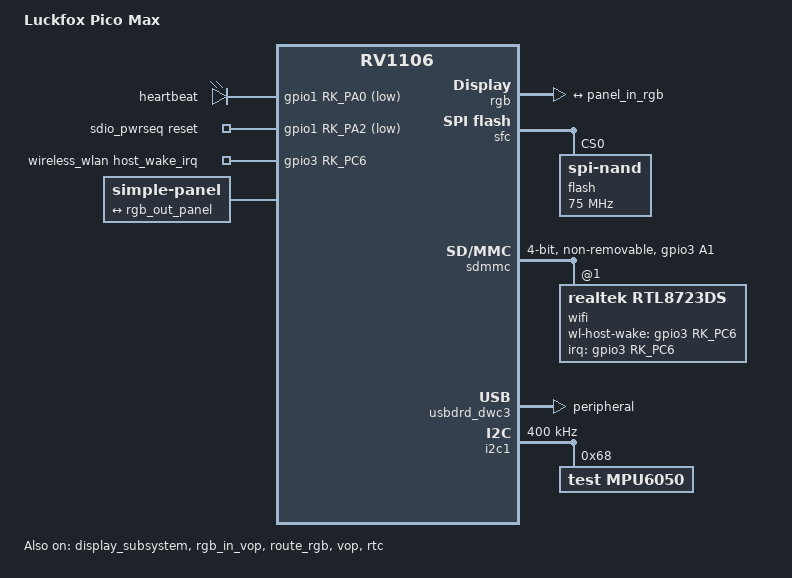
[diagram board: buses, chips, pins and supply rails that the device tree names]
// SPDX-License-Identifier: (GPL-2.0+ OR MIT)
/*
 * Copyright (c) 2022 Rockchip Electronics Co., Ltd.
 */

/dts-v1/;

#include "rv1106.dtsi"
#include "rv1106-evb.dtsi"
#include "rv1106-luckfox-pico-pro-max-ipc.dtsi"
#include <dt-bindings/input/input.h>
#include <dt-bindings/display/media-bus-format.h>


/ {
	model = "Luckfox Pico Max";
	compatible = "rockchip,rv1103g-38x38-ipc-v10", "rockchip,rv1106";



	leds {
        compatible = "gpio-leds";
        
        heartbeat_led {
            label = "heartbeat";
            gpios = <&gpio1 RK_PA0 GPIO_ACTIVE_LOW>;
            default-state = "on";
            //max-brightness = <255>;  // 手动设置最大亮度
            linux,default-trigger = "heartbeat";
            status = "okay";  // 这应该在每个 LED 节点下
        };
    };
    
    sdio_pwrseq: sdio-pwrseq {
	compatible = "mmc-pwrseq-simple";
	pinctrl-names = "default";
	pinctrl-0 = <&wifi_enable_h>;
	reset-gpios = <&gpio1 RK_PA2 GPIO_ACTIVE_LOW>;//随便给的
	};


    wireless_wlan: wireless-wlan {
		compatible = "wlan-platdata";
		wifi_chip_type = "rtl8723ds";
		pinctrl-names = "default";
		WIFI,host_wake_irq = <&gpio3 RK_PC6 GPIO_ACTIVE_HIGH>;
		status = "okay";
	};
	
	reserved_memory: reserved-memory {
		status = "okay";
		#address-cells = <1>;
		#size-cells = <1>;
		ranges;
		linux,cma {
			status = "okay";
			compatible = "shared-dma-pool";
			inactive;
			reusable;
			size = <0xA00000>; //10M
			linux,cma-default;
		};
	};

	/* LCD 面板描述 */
	panel: panel {
		compatible = "simple-panel";
		status = "okay";
		

		bus-format = <MEDIA_BUS_FMT_RGB666_1X18>;
		width-mm = <95>;
		height-mm = <54>;

		display-timings {
			native-mode = <&timing0>;
			timing0: timing0 {
				clock-frequency = <9000000>;
				hactive = <480>;
				vactive = <272>;
				hsync-len = <43>;
				hback-porch = <2>;
				hfront-porch = <2>;
				vsync-len = <12>;
				vback-porch = <2>;
				vfront-porch = <2>;
				hsync-active = <0>;
				vsync-active = <0>;
				de-active = <0>;
				pixelclk-active = <0>;
			};
		};

		port {
			panel_in_rgb: endpoint {
				remote-endpoint = <&rgb_out_panel>;
			};
		};
	};


};

&rgb {
	status = "okay";
	pinctrl-names = "default";
	pinctrl-0 = <&lcd_pins>;

	ports {
		rgb_out: port@1 {
			reg = <1>;
			#address-cells = <1>;
			#size-cells = <0>;

			rgb_out_panel: endpoint@0 {
				reg = <0>;
				remote-endpoint = <&panel_in_rgb>;
			};
		};
	};
};


&display_subsystem {
        status = "okay";
        
};


&rgb_in_vop {
	status = "okay";
};

&route_rgb {
    status = "okay";
};

&vop {
        status = "okay";
};

/**********FLASH**********/
&sfc {
	status = "okay";
	flash@0 {
		compatible = "spi-nand";
		reg = <0>;
		spi-max-frequency = <75000000>;
		spi-rx-bus-width = <4>;
		spi-tx-bus-width = <1>;
	};
	
};

/**********SDMMC**********/
&sdmmc {
    max-frequency = <50000000>;
    bus-width = <4>;
    #address-cells = <1>;
    #size-cells = <0>;
    cap-sd-highspeed;
    cap-sdio-irq;
    keep-power-in-suspend;
    non-removable;
    supports-sdio;
    mmc-pwrseq = <&sdio_pwrseq>;
    pinctrl-names = "default";
    pinctrl-0 = <&sdmmc0_clk &sdmmc0_cmd &sdmmc0_bus4 &sdmmc0_det>;
    status = "okay";
    
     wifi@1 {
        reg = <1>;  // function 1 是标准 SDIO WLAN 的 function
        compatible = "realtek,rtl8723ds";
        interrupt-parent = <&gpio3>;
        interrupts = <RK_PC6 IRQ_TYPE_LEVEL_HIGH>; // 与 wireless_wlan 中的保持一致
        rockchip,wl-host-wake-gpios = <&gpio3 RK_PC6 GPIO_ACTIVE_HIGH>; // 可选，用于唤醒
        status = "okay";
    };
    
};


/**********ETH**********/
&gmac {
	status = "disabled";
};

/**********USB**********/
&usbdrd_dwc3 {
	status = "okay";
	dr_mode = "peripheral";
};



&pinctrl {
	sdmmc0{
		sdmmc0_det: sdmmc0-det {
			rockchip,pins =
				/* sdmmc0_det */
				<3 RK_PA1 1 &pcfg_pull_down>;
		};
  	};
	
	wireless-wlan {
		wifi_host_wake_irq: wifi-host-wake-irq {
			rockchip,pins = <3 RK_PC6 RK_FUNC_GPIO &pcfg_pull_none>;
		};
	};

	wifi-enable{
		wifi_enable_h:wifi-enable-h{
		rockchip,pins = <1 RK_PA2 RK_FUNC_GPIO &pcfg_pull_none>;
		};
	};

			 
};


/**********I2C**********/
/* I2C3_M1 */
&i2c3 {
	status = "disabled";
	clock-frequency = <100000>;
};

/* I2C1_M0 */
&i2c1 {
	status = "okay";
	clock-frequency = <400000>;
	pincrtl-0=<&i2c1m0_xfer>;
	pinctrl-names = "default";
	#address-cells = <1>;
    	#size-cells = <0>;
	
	mpu6050:mpu6050@68{
		compatible= "test,mpu6050";
		reg=<0x68>;
		status="okay";
	
	};

};


/**********UART**********/
/* UART3_M1 */
&uart3 {
	status = "disabled";
};

/* UART4_M1 */
&uart4 {
	status = "disabled";
};

/**********RTC**********/
&rtc {
	status = "okay";
};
